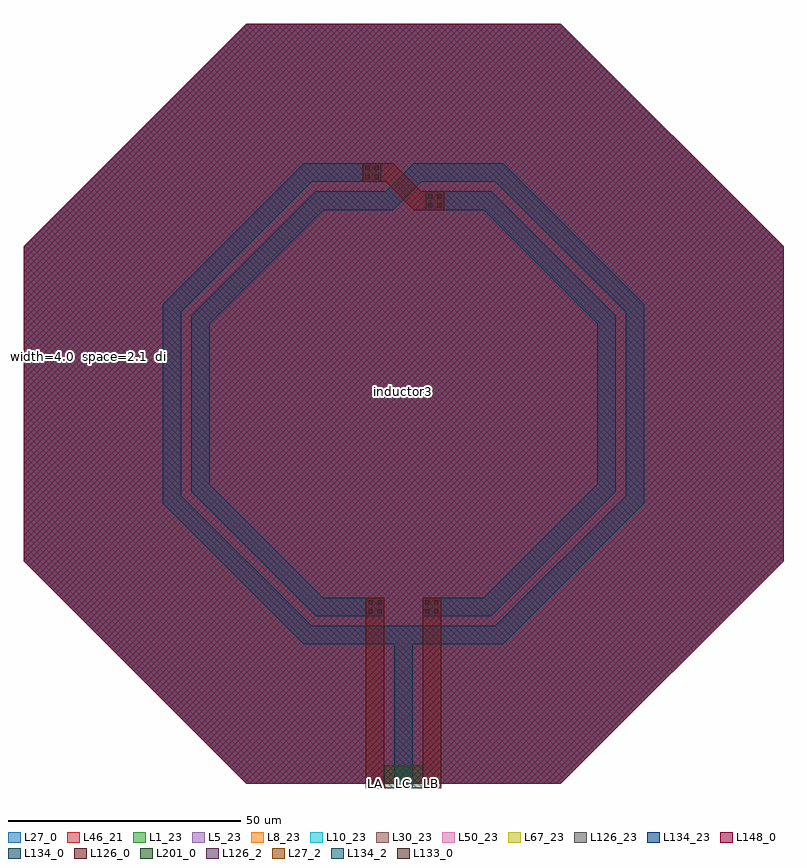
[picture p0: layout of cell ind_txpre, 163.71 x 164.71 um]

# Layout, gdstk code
import gdstk
lib = gdstk.Library(unit=1e-6, precision=1e-09)
def R(c, l, rs):  # rectangles x0, y0, x1, y1
    for r in rs: c.add(gdstk.rectangle(r[:2], r[2:], *l))
def A(c, l, x, y, w, h, nx, ny, dx, dy):  # array of equal rectangles
    R(c, l, [(x+i*dx, y+j*dy, x+i*dx+w, y+j*dy+h) for i in range(nx) for j in range(ny)])
def P(c, l, *ps):  # polygons
    for p in ps: c.add(gdstk.Polygon(p, *l))
L1_23 = (1, 23)
L5_23 = (5, 23)
L8_23 = (8, 23)
L10_23 = (10, 23)
L27_0 = (27, 0)
L27_2 = (27, 2)
L30_23 = (30, 23)
L46_21 = (46, 21)
L50_23 = (50, 23)
L67_23 = (67, 23)
L126_0 = (126, 0)
L126_2 = (126, 2)
L126_23 = (126, 23)
L133_0 = (133, 0)
L134_0 = (134, 0)
L134_2 = (134, 2)
L134_23 = (134, 23)
L148_0 = (148, 0)
L201_0 = (201, 0)

ind_txpre = lib.new_cell('ind_txpre')
P(ind_txpre, L1_23, [(-33.905,0),(-81.855,47.95),(-81.855,115.76),(-33.905,163.71),(33.905,163.71),(81.855,115.76),(81.855,47.95),(33.905,0)])
P(ind_txpre, L5_23, [(-33.905,0),(-81.855,47.95),(-81.855,115.76),(-33.905,163.71),(33.905,163.71),(81.855,115.76),(81.855,47.95),(33.905,0)])
P(ind_txpre, L8_23, [(-33.905,0),(-81.855,47.95),(-81.855,115.76),(-33.905,163.71),(33.905,163.71),(81.855,115.76),(81.855,47.95),(33.905,0)])
P(ind_txpre, L10_23, [(-33.905,0),(-81.855,47.95),(-81.855,115.76),(-33.905,163.71),(33.905,163.71),(81.855,115.76),(81.855,47.95),(33.905,0)])
P(ind_txpre, L27_0, [(-33.905,0),(-81.855,47.95),(-81.855,115.76),(-33.905,163.71),(33.905,163.71),(81.855,115.76),(81.855,47.95),(33.905,0)])
A(ind_txpre, L27_2, -8.1, -1, 4, 2, 3, 1, 6.1, 0)
P(ind_txpre, L30_23, [(-33.905,0),(-81.855,47.95),(-81.855,115.76),(-33.905,163.71),(33.905,163.71),(81.855,115.76),(81.855,47.95),(33.905,0)])
P(ind_txpre, L46_21, [(-33.905,0),(-81.855,47.95),(-81.855,115.76),(-33.905,163.71),(33.905,163.71),(81.855,115.76),(81.855,47.95),(33.905,0)])
P(ind_txpre, L50_23, [(-33.905,0),(-81.855,47.95),(-81.855,115.76),(-33.905,163.71),(33.905,163.71),(81.855,115.76),(81.855,47.95),(33.905,0)])
P(ind_txpre, L67_23, [(-33.905,0),(-81.855,47.95),(-81.855,115.76),(-33.905,163.71),(33.905,163.71),(81.855,115.76),(81.855,47.95),(33.905,0)])
P(ind_txpre, L126_0, [(2.245,123.57),(-3.875,129.69),(-8.765,129.69),(-8.765,133.69),(-2.245,133.69),(3.875,127.57),(8.765,127.57),(8.765,123.57)])
R(ind_txpre, L126_2, [(-8.1,-1,-4.1,1), (-8.1,-1,-4.1,1), (4.1,-1,8.1,1), (4.1,-1,8.1,1)])
P(ind_txpre, L126_23, [(-33.905,0),(-81.855,47.95),(-81.855,115.76),(-33.905,163.71),(33.905,163.71),(81.855,115.76),(81.855,47.95),(33.905,0)])
R(ind_txpre, L133_0, [(-7.53,36.67,-6.63,37.57), (-5.57,36.67,-4.67,37.57), (4.67,36.67,5.57,37.57), (6.63,36.67,7.53,37.57), (-7.53,38.63,-6.63,39.53), (-5.57,38.63,-4.67,39.53), (4.67,38.63,5.57,39.53), (6.63,38.63,7.53,39.53), (5.335,124.14,6.235,125.04), (7.295,124.14,8.195,125.04), (5.335,126.1,6.235,127), (7.295,126.1,8.195,127), (-8.195,130.24,-7.295,131.14), (-6.235,130.24,-5.335,131.14), (-8.195,132.2,-7.295,133.1), (-6.235,132.2,-5.335,133.1)])
R(ind_txpre, L134_0, [(-4.765,30,4.765,34)])
P(ind_txpre, L134_0, [(4.1,36.1),(4.1,40.1),(17.285,40.1),(41.735,64.55),(41.735,99.12),(17.285,123.57),(4.765,123.57),(4.765,127.57),(18.95,127.57),(45.735,100.785),(45.735,62.885),(18.95,36.1)],
  [(-18.95,36.1),(-45.735,62.885),(-45.735,100.785),(-18.95,127.57),(-4.765,127.57),(-4.765,123.57),(-17.285,123.57),(-41.735,99.12),(-41.735,64.55),(-17.285,40.1),(-4.1,40.1),(-4.1,36.1)],
  [(-4.765,123.57),(-4.765,127.57),(-3.875,127.57),(2.245,133.69),(4.765,133.69),(4.765,129.69),(3.905,129.69),(-2.215,123.57)],
  [(4.765,30),(4.765,34),(19.815,34),(47.845,62.03),(47.845,101.66),(19.815,129.69),(4.765,129.69),(4.765,133.69),(21.48,133.69),(51.845,103.325),(51.845,60.365),(21.48,30)],
  [(-21.48,30),(-51.845,60.365),(-51.845,103.325),(-21.48,133.69),(-4.765,133.69),(-4.765,129.69),(-19.815,129.69),(-47.845,101.66),(-47.845,62.03),(-19.815,34),(-4.765,34),(-4.765,30)])
R(ind_txpre, L134_2, [(-2,-1,2,1), (-2,-1,2,1)])
P(ind_txpre, L134_23, [(-33.905,0),(-81.855,47.95),(-81.855,115.76),(-33.905,163.71),(33.905,163.71),(81.855,115.76),(81.855,47.95),(33.905,0)])
P(ind_txpre, L148_0, [(-33.905,0),(-81.855,47.95),(-81.855,115.76),(-33.905,163.71),(33.905,163.71),(81.855,115.76),(81.855,47.95),(33.905,0)])
R(ind_txpre, L201_0, [(-4.1,-1,4.1,4)])
ind_txpre.add(gdstk.FlexPath([(0,-1),(0,30)], 4, ends="flush", simple_path=True, layer=134, datatype=0))  # L134_0
ind_txpre.add(gdstk.FlexPath([(6.1,-1),(6.1,40.1)], 4, ends="flush", simple_path=True, layer=126, datatype=0))  # L126_0
ind_txpre.add(gdstk.FlexPath([(-6.1,-1),(-6.1,40.1)], 4, ends="flush", simple_path=True, layer=126, datatype=0))  # L126_0
ind_txpre.add(gdstk.Label('LC', (0,0), layer=27, texttype=25))
ind_txpre.add(gdstk.Label('LB', (6.1,0), layer=27, texttype=25))
ind_txpre.add(gdstk.Label('LA', (-6.1,0), layer=27, texttype=25))
ind_txpre.add(gdstk.Label('inductor3', (0,84.395), layer=63, texttype=0))
ind_txpre.add(gdstk.Label('  width=4.0\n  space=2.1\n  diameter=83.47\n  turns=2', (-81.855,91.925), layer=63, texttype=0))

lib.write_gds('ind_txpre.gds')
